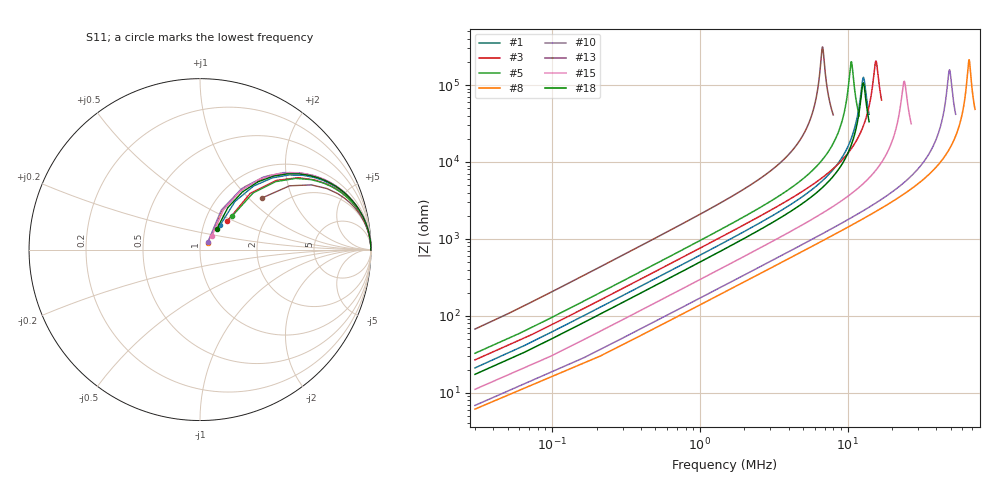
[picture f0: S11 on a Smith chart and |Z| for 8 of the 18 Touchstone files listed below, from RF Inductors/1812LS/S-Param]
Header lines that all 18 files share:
! 8 August 2002
# MHZ S MA R 50
!Freq  MagS11  AngS11  MagS21  AngS21  MagS12  AngS12  MagS22  AngS22
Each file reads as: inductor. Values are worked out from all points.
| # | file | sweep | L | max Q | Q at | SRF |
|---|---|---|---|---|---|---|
| 1 | 18LS104.S2P | 30 kHz to 14 MHz | 97 uH | 55 | 4.09 MHz | 12.8 MHz |
| 2 | 18LS123.S2P | 30 kHz to 94 MHz | 12 uH | 57.5 | 26.71 MHz | 85.21 MHz |
| 3 | 18LS124.S2P | 30 kHz to 17 MHz | 120 uH | 56.9 | 5.028 MHz | 15.57 MHz |
| 4 | 18LS153.S2P | 30 kHz to 89 MHz | 15 uH | 57.7 | 25.78 MHz | 80.62 MHz |
| 5 | 18LS154.S2P | 30 kHz to 12 MHz | 150 uH | 56.1 | 3.66 MHz | 10.62 MHz |
| 6 | 18LS183.S2P | 30 kHz to 68 MHz | 18 uH | 59.6 | 20.77 MHz | 61.57 MHz |
| 7 | 18LS184.S2P | 30 kHz to 10 MHz | 178 uH | 56 | 2.98 MHz | 8.905 MHz |
| 8 | 18LS223.S2P | 30 kHz to 73 MHz | 22 uH | 56.3 | 22.05 MHz | 66.46 MHz |
| 9 | 18LS224.S2P | 30 kHz to 8 MHz | 218 uH | 54.6 | 2.53 MHz | 7.31 MHz |
| 10 | 18LS273.S2P | 30 kHz to 54 MHz | 27 uH | 55.2 | 15.55 MHz | 49.03 MHz |
| 11 | 18LS274.S2P | 30 kHz to 9 MHz | 268 uH | 77.3 | 2.604 MHz | 7.708 MHz |
| 12 | 18LS333.S2P | 30 kHz to 45 MHz | 33 uH | 57.4 | 13.02 MHz | 40.35 MHz |
| 13 | 18LS334.S2P | 30 kHz to 8 MHz | 325 uH | 52.8 | 2.47 MHz | 6.77 MHz |
| 14 | 18LS393.S2P | 30 kHz to 37 MHz | 39 uH | 58.7 | 10.24 MHz | 33.79 MHz |
| 15 | 18LS473.S2P | 30 kHz to 27 MHz | 47 uH | 57.1 | 7.467 MHz | 24.22 MHz |
| 16 | 18LS563.S2P | 30 kHz to 22 MHz | 55 uH | 56.5 | 5.695 MHz | 19.94 MHz |
| 17 | 18LS683.S2P | 30 kHz to 17 MHz | 66 uH | 55.9 | 4.818 MHz | 15.32 MHz |
| 18 | 18LS823.S2P | 30 kHz to 14 MHz | 79 uH | 55.6 | 4.16 MHz | 12.8 MHz |
